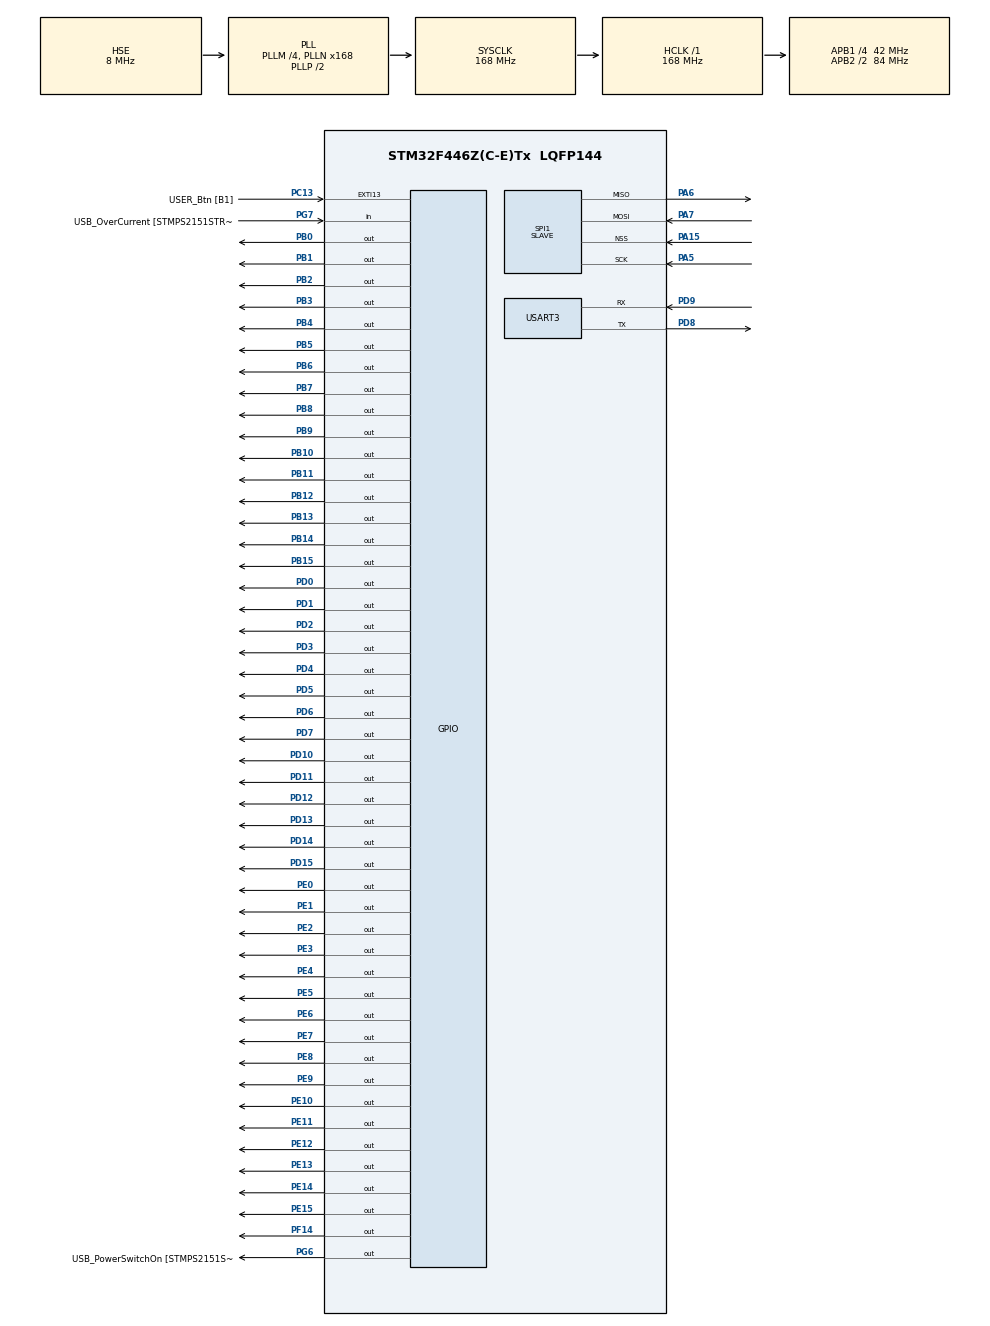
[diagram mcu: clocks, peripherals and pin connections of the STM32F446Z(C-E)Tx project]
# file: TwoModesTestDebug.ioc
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Mcu.Family=STM32F4
Mcu.Name=STM32F446Z(C-E)Tx
Mcu.Package=LQFP144
NVIC.PriorityGroup=NVIC_PRIORITYGROUP_4
NVIC.SPI1_IRQn=true\:0\:0\:false\:false\:true\:true\:true\:true
NVIC.TIM2_IRQn=true\:0\:0\:false\:false\:true\:true\:true\:true
PA10.GPIO_Label=USB_ID
PA10.Signal=USB_OTG_FS_ID
PA11.GPIO_Label=USB_DM
PA11.Signal=USB_OTG_FS_DM
PA12.GPIO_Label=USB_DP
PA12.Signal=USB_OTG_FS_DP
PA13.GPIO_Label=TMS
PA13.Mode=Serial_Wire
PA13.Signal=SYS_JTMS-SWDIO
PA14.GPIO_Label=TCK
PA14.Mode=Serial_Wire
PA14.Signal=SYS_JTCK-SWCLK
PA15.Mode=NSS_Signal_Hard_Input
PA15.Signal=SPI1_NSS
PA5.Mode=Full_Duplex_Slave
PA5.Signal=SPI1_SCK
PA6.Mode=Full_Duplex_Slave
PA6.Signal=SPI1_MISO
PA7.Mode=Full_Duplex_Slave
PA7.Signal=SPI1_MOSI
PA8.GPIO_Label=USB_SOF [TP1]
PA8.Signal=USB_OTG_FS_SOF
PA9.GPIO_Label=USB_VBUS
PA9.Signal=USB_OTG_FS_VBUS
PB0.Signal=GPIO_Output
PB1.Signal=GPIO_Output
PB10.Signal=GPIO_Output
PB11.Signal=GPIO_Output
PB12.Signal=GPIO_Output
PB13.Signal=GPIO_Output
PB14.Signal=GPIO_Output
PB15.Signal=GPIO_Output
PB2.Signal=GPIO_Output
PB3.Signal=GPIO_Output
PB4.Signal=GPIO_Output
PB5.Signal=GPIO_Output
PB6.Signal=GPIO_Output
PB7.Signal=GPIO_Output
PB8.Signal=GPIO_Output
PB9.Signal=GPIO_Output
PC13.GPIO_Label=USER_Btn [B1]
PC13.Signal=GPXTI13
PC14-OSC32_IN.Mode=LSE-External-Oscillator
PC14-OSC32_IN.Signal=RCC_OSC32_IN
PC15-OSC32_OUT.Mode=LSE-External-Oscillator
PC15-OSC32_OUT.Signal=RCC_OSC32_OUT
PD0.Signal=GPIO_Output
PD1.Signal=GPIO_Output
PD10.Signal=GPIO_Output
PD11.Signal=GPIO_Output
PD12.Signal=GPIO_Output
PD13.Signal=GPIO_Output
PD14.Signal=GPIO_Output
PD15.Signal=GPIO_Output
PD2.Signal=GPIO_Output
PD3.Signal=GPIO_Output
PD4.Signal=GPIO_Output
PD5.Signal=GPIO_Output
PD6.Signal=GPIO_Output
PD7.Signal=GPIO_Output
PD8.Mode=Asynchronous
PD8.Signal=USART3_TX
PD9.Mode=Asynchronous
PD9.Signal=USART3_RX
PE0.Signal=GPIO_Output
PE1.Signal=GPIO_Output
PE10.Signal=GPIO_Output
PE11.Signal=GPIO_Output
PE12.Signal=GPIO_Output
PE13.Signal=GPIO_Output
PE14.Signal=GPIO_Output
PE15.Signal=GPIO_Output
PE2.Signal=GPIO_Output
PE3.Signal=GPIO_Output
PE4.Signal=GPIO_Output
PE5.Signal=GPIO_Output
PE6.Signal=GPIO_Output
PE7.Signal=GPIO_Output
PE8.Signal=GPIO_Output
PE9.Signal=GPIO_Output
PF14.Signal=GPIO_Output
PG6.GPIO_Label=USB_PowerSwitchOn [STMPS2151STR_EN]
PG6.Signal=GPIO_Output
PG7.GPIO_Label=USB_OverCurrent [STMPS2151STR_FAULT]
PG7.Signal=GPIO_Input
PH0-OSC_IN.GPIO_Label=MCO [STM32F103CBT6_PA8]
PH0-OSC_IN.Mode=HSE-External-Clock-Source
PH0-OSC_IN.Signal=RCC_OSC_IN
PH1-OSC_OUT.Mode=HSE-External-Clock-Source
PH1-OSC_OUT.Signal=RCC_OSC_OUT
ProjectManager.HeapSize=0x200
ProjectManager.StackSize=0x400
ProjectManager.TargetToolchain=STM32CubeIDE
RCC.48MHZClocksFreq_Value=24000000
RCC.AHBFreq_Value=168000000
RCC.APB1CLKDivider=RCC_HCLK_DIV4
RCC.APB1Freq_Value=42000000
RCC.APB1TimFreq_Value=84000000
RCC.APB2CLKDivider=RCC_HCLK_DIV2
RCC.APB2Freq_Value=84000000
RCC.APB2TimFreq_Value=168000000
RCC.CortexFreq_Value=168000000
RCC.HCLKFreq_Value=168000000
RCC.HSE_VALUE=8000000
RCC.HSI_VALUE=16000000
RCC.PLLM=4
RCC.PLLMUL=RCC_PLL_MUL9
RCC.PLLN=168
RCC.PLLQ=7
RCC.PLLSourceVirtual=RCC_PLLSOURCE_HSE
RCC.PRESCALERUSB=RCC_USBCLKSOURCE_PLL_DIV1_5
RCC.SYSCLKFreq_VALUE=168000000
RCC.SYSCLKSource=RCC_SYSCLKSOURCE_PLLCLK
RCC.SYSCLKSourceVirtual=RCC_SYSCLKSOURCE_PLLCLK
RCC.USBFreq_Value=48000000
RCC.VCOOutputFreq_Value=336000000
SPI1.DataSize=SPI_DATASIZE_8BIT
SPI1.Direction=SPI_DIRECTION_2LINES
SPI1.Mode=SPI_MODE_SLAVE
SPI1.VirtualNSS=VM_NSSHARD
SPI1.VirtualType=VM_SLAVE
TIM2.Prescaler=8399
USART3.VirtualMode=VM_ASYNC
VP_TIM2_VS_ClockSourceINT.Mode=Internal
board=NUCLEO-F446ZE

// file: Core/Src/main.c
/* USER CODE BEGIN Header */
/**
  ******************************************************************************
  * @file           : main.c
  * @brief          : Main program body
  ******************************************************************************
  * @attention
  *
  * Copyright (c) 2025 STMicroelectronics.
  * All rights reserved.
  *
  * This software is licensed under terms that can be found in the LICENSE file
  * in the root directory of this software component.
  * If no LICENSE file comes with this software, it is provided AS-IS.
  *
  ******************************************************************************
  */
/* USER CODE END Header */
#include "main.h"

/* USER CODE BEGIN Includes */
#include <stdio.h>
/* USER CODE END Includes */

/* USER CODE BEGIN PTD */

/*
typedef enum {
    MODE_IDLE,
    MODE_STATIC,
    MODE_TEST
} run_mode_t;

*/
/* USER CODE END PTD */

SPI_HandleTypeDef hspi1;

TIM_HandleTypeDef htim2;

UART_HandleTypeDef huart3;

/* USER CODE BEGIN PV */
#define SYNC_WORD    0xA5A5u
#define CMD_STATIC   0xC001u
#define CMD_TEST     0xC002u
#define RX_PACKET_WORDS 1
#define RX_PACKET_BYTES 2
#define BUF_LEN 18

static volatile uint8_t rx_packet[BUF_LEN];
static volatile uint8_t rx_packet_ready = 0;
static volatile uint32_t rx_packets_ok = 0;
static volatile uint32_t rx_packets_bad = 0;
/*
static volatile run_mode_t current_mode = MODE_IDLE;
static volatile uint8_t current_test_pattern = 0;

static volatile uint16_t test_pattern1[3] = {0, 0, 0};
static volatile uint16_t test_pattern2[3] = {0, 0, 0};
static volatile uint16_t test_freq_hz = 1;
*/
/* USER CODE END PV */

void SystemClock_Config(void);
static void MX_GPIO_Init(void);
static void MX_SPI1_Init(void);
static void MX_TIM2_Init(void);
static void MX_USART3_UART_Init(void);
/* USER CODE BEGIN PFP */
//static void ApplyPattern48(uint16_t pattern1, uint16_t pattern2, uint16_t pattern3);
static void SPI_Rearm_Packet(void);
//static void SetSwitchingFrequency(uint32_t freq_hz);
/* USER CODE END PFP */

/* USER CODE BEGIN 0 */
int __io_putchar(int ch)
{
    HAL_UART_Transmit(&huart3, (uint8_t *)&ch, 1, HAL_MAX_DELAY);
    return ch;
}

/*static inline GPIO_PinState bit_to_state(uint16_t w, uint8_t bit)
{
    return (w & (1U << bit)) ? GPIO_PIN_SET : GPIO_PIN_RESET;
}
*/
static void SPI_Rearm_Packet(void)
{
	//reas sr and dr again
    if (HAL_SPI_Receive_IT(&hspi1, (uint8_t*)rx_packet, RX_PACKET_BYTES) != HAL_OK)
    {
        rx_packets_bad++;
        printf("SPI arm failed\r\n");
    }
}
/*
static void SetSwitchingFrequency(uint32_t freq_hz)
{
    uint32_t timer_tick_hz = 10000;
    uint32_t interrupt_rate;
    uint32_t arr_value;

    if (freq_hz == 0)
    {
        freq_hz = 1;
    }

    interrupt_rate = 2U * freq_hz;

    if (interrupt_rate == 0)
    {
        interrupt_rate = 2;
    }

    if (interrupt_rate > timer_tick_hz)
    {
        interrupt_rate = timer_tick_hz;
    }

    arr_value = (timer_tick_hz / interrupt_rate) - 1U;

    __HAL_TIM_SET_AUTORELOAD(&htim2, arr_value);
    __HAL_TIM_SET_COUNTER(&htim2, 0);
    __HAL_TIM_CLEAR_FLAG(&htim2, TIM_FLAG_UPDATE);
}
void HAL_TIM_PeriodElapsedCallback(TIM_HandleTypeDef *htim)
{
    if (htim->Instance != TIM2) return;

    if (current_mode != MODE_TEST) return;

    if (current_test_pattern == 0)
    {
        ApplyPattern48(test_pattern1[0], test_pattern1[1], test_pattern1[2]);
        current_test_pattern = 1;
    }
    else
    {
        ApplyPattern48(test_pattern2[0], test_pattern2[1], test_pattern2[2]);
        current_test_pattern = 0;
    }
}
*/

/* Apply 3 frames in order:
 *  frame0 ; CH1-CH16 (bits 0..15)
 *  frame1 ;CH17-CH32 (bits 0..15)
 *  frame2 ; CH33-CH48 (bits 0..15)
 */
//static void ApplyPattern48(uint16_t pattern1, uint16_t pattern2, uint16_t pattern3)
//{
    /* FRAME 1 (pattern0): CH1-CH16 */
/*
    HAL_GPIO_WritePin(GPIOD, GPIO_PIN_1,  bit_to_state(pattern1, 0));//CH1
    HAL_GPIO_WritePin(GPIOD, GPIO_PIN_2,  bit_to_state(pattern1, 1));//CH2
    HAL_GPIO_WritePin(GPIOD, GPIO_PIN_4,  bit_to_state(pattern1, 2));//CH3
    HAL_GPIO_WritePin(GPIOB, GPIO_PIN_10, bit_to_state(pattern1, 3));//CH4
    HAL_GPIO_WritePin(GPIOB, GPIO_PIN_12, bit_to_state(pattern1, 4));//CH5
    HAL_GPIO_WritePin(GPIOB, GPIO_PIN_13, bit_to_state(pattern1, 5));//CH6
    HAL_GPIO_WritePin(GPIOD, GPIO_PIN_3,  bit_to_state(pattern1, 6));//CH7
    HAL_GPIO_WritePin(GPIOD, GPIO_PIN_7,  bit_to_state(pattern1, 7));//CH8
    HAL_GPIO_WritePin(GPIOE, GPIO_PIN_15, bit_to_state(pattern1, 8));//CH9
    HAL_GPIO_WritePin(GPIOB, GPIO_PIN_14, bit_to_state(pattern1, 9));//CH10
    //HAL_GPIO_WritePin(GPIOD, GPIO_PIN_8,  bit_to_state(pattern1, 10));//CH11 ->>>>>>
    HAL_GPIO_WritePin(GPIOB, GPIO_PIN_15, bit_to_state(pattern1, 11));//CH12
    HAL_GPIO_WritePin(GPIOB, GPIO_PIN_11, bit_to_state(pattern1, 12));//CH13
    HAL_GPIO_WritePin(GPIOD, GPIO_PIN_6,  bit_to_state(pattern1, 13));//CH14
    HAL_GPIO_WritePin(GPIOD, GPIO_PIN_5,  bit_to_state(pattern1, 14));//CH15
    HAL_GPIO_WritePin(GPIOD, GPIO_PIN_0,  bit_to_state(pattern1, 15));//CH16
*/
    /*  FRAME 2 (pattern1): CH17-CH32 */
/*
    HAL_GPIO_WritePin(GPIOD, GPIO_PIN_10, bit_to_state(pattern2, 0));//CH17
    HAL_GPIO_WritePin(GPIOD, GPIO_PIN_12, bit_to_state(pattern2, 1));//CH18
    HAL_GPIO_WritePin(GPIOD, GPIO_PIN_14, bit_to_state(pattern2, 2));//CH19
    HAL_GPIO_WritePin(GPIOE, GPIO_PIN_3,  bit_to_state(pattern2, 3));//CH20
    HAL_GPIO_WritePin(GPIOE, GPIO_PIN_5,  bit_to_state(pattern2, 4));//CH21
    HAL_GPIO_WritePin(GPIOE, GPIO_PIN_6,  bit_to_state(pattern2, 5));//CH22
    HAL_GPIO_WritePin(GPIOD, GPIO_PIN_11, bit_to_state(pattern2, 6));//CH23
    HAL_GPIO_WritePin(GPIOE, GPIO_PIN_1,  bit_to_state(pattern2, 7));//CH24
    HAL_GPIO_WritePin(GPIOE, GPIO_PIN_2,  bit_to_state(pattern2, 8));//CH25
    HAL_GPIO_WritePin(GPIOB, GPIO_PIN_0,  bit_to_state(pattern2, 9));//CH26
    HAL_GPIO_WritePin(GPIOB, GPIO_PIN_1,  bit_to_state(pattern2, 10));//CH27
    HAL_GPIO_WritePin(GPIOB, GPIO_PIN_2,  bit_to_state(pattern2, 11));//CH28
    HAL_GPIO_WritePin(GPIOE, GPIO_PIN_4,  bit_to_state(pattern2, 12));//CH29
    HAL_GPIO_WritePin(GPIOD, GPIO_PIN_15, bit_to_state(pattern2, 13));//CH30
    HAL_GPIO_WritePin(GPIOD, GPIO_PIN_13, bit_to_state(pattern2, 14));//CH31
    //HAL_GPIO_WritePin(GPIOD, GPIO_PIN_9,  bit_to_state(pattern2, 15));//CH32 ->>>>>>>

*/
    /*  FRAME 3 (pattern2): CH33-CH48 */
/*
    HAL_GPIO_WritePin(GPIOE, GPIO_PIN_8,  bit_to_state(pattern3, 0));//CH33
    HAL_GPIO_WritePin(GPIOE, GPIO_PIN_9,  bit_to_state(pattern3, 1));//CH34
    HAL_GPIO_WritePin(GPIOE, GPIO_PIN_11, bit_to_state(pattern3, 2));//CH35
    HAL_GPIO_WritePin(GPIOE, GPIO_PIN_13, bit_to_state(pattern3, 3));//CH36
    HAL_GPIO_WritePin(GPIOB, GPIO_PIN_6,  bit_to_state(pattern3, 4));//CH37
    HAL_GPIO_WritePin(GPIOB, GPIO_PIN_7,  bit_to_state(pattern3, 5));//CH38
    HAL_GPIO_WritePin(GPIOE, GPIO_PIN_10, bit_to_state(pattern3, 6));//CH39
    HAL_GPIO_WritePin(GPIOE, GPIO_PIN_14, bit_to_state(pattern3, 7));//CH40
    HAL_GPIO_WritePin(GPIOB, GPIO_PIN_3,  bit_to_state(pattern3, 8));//CH41
    HAL_GPIO_WritePin(GPIOB, GPIO_PIN_8,  bit_to_state(pattern3, 9));//CH42
    HAL_GPIO_WritePin(GPIOB, GPIO_PIN_9,  bit_to_state(pattern3, 10));//CH43
    HAL_GPIO_WritePin(GPIOE, GPIO_PIN_0,  bit_to_state(pattern3, 11));//CH44
    HAL_GPIO_WritePin(GPIOB, GPIO_PIN_5,  bit_to_state(pattern3, 12));//CH45
    HAL_GPIO_WritePin(GPIOB, GPIO_PIN_4,  bit_to_state(pattern3, 13));//CH46
    HAL_GPIO_WritePin(GPIOE, GPIO_PIN_12, bit_to_state(pattern3, 14));//CH47
    HAL_GPIO_WritePin(GPIOE, GPIO_PIN_7,  bit_to_state(pattern3, 15));//CH48

    //HAL_GPIO_WritePin(GPIOD, GPIO_PIN_7, (pattern & (1U << 1)) ? GPIO_PIN_SET : GPIO_PIN_RESET);
}
*/

void HAL_SPI_RxCpltCallback(SPI_HandleTypeDef *hspi)
{
    if (hspi->Instance != SPI1) return;

    rx_packet_ready = 1;

}
void HAL_SPI_ErrorCallback(SPI_HandleTypeDef *hspi)
{
    if (hspi->Instance != SPI1) return;

    rx_packets_bad++;
    printf("SPI error callback\r\n");

    volatile uint32_t tmp;
    tmp = hspi->Instance->DR;
    tmp = hspi->Instance->SR;
    (void)tmp;

    SPI_Rearm_Packet();
}

/* USER CODE END 0 */

int main(void)
{

  /* MCU Configuration--------------------------------------------------------*/

  /* Reset of all peripherals, Initializes the Flash interface and the Systick. */
  HAL_Init();

  /* Configure the system clock */
  SystemClock_Config();

  /* Initialize all configured peripherals */
  MX_GPIO_Init();
  MX_SPI1_Init();
  MX_TIM2_Init();
  MX_USART3_UART_Init();
  printf("Boot OK\r\n");
  /* USER CODE BEGIN 2 */

  /* Boot banner so you know firmware is running */
  //const char hello[] = "Boot OK: SPI1 slave listening (16-bit, mode 0)\r\n";
  //HAL_UART_Transmit(&huart3, (uint8_t*)hello, sizeof(hello)-1, 100);

/*
  ApplyPattern48(0xFFFF, 0x0000, 0x0000);
  HAL_Delay(1000);
  ApplyPattern48(0x0000, 0xFFFF, 0x0000);
  HAL_Delay(1000);
  ApplyPattern48(0x0000, 0x0000, 0xFFFF);
  HAL_Delay(1000);
  ApplyPattern48(0, 0, 0);

  SPI_Rearm_Packet();
*/

  /*current_mode = MODE_IDLE;
  current_test_pattern = 0;

  test_pattern1[0] = 0;
  test_pattern1[1] = 0;
  test_pattern1[2] = 0;

  test_pattern2[0] = 0;
  test_pattern2[1] = 0;
  test_pattern2[2] = 0;

  test_freq_hz = 1;

  HAL_TIM_Base_Stop_IT(&htim2);
  __HAL_TIM_SET_COUNTER(&htim2, 0);

  ApplyPattern48(0, 0, 0);
  */
  SPI_Rearm_Packet();

  //ApplyPattern48(0, 0, 0);
  //SPI_Rearm_Packet();

  /* Local shadow used to detect new RX events without disabling IRQs */

  /* USER CODE END 2 */

  /* Infinite loop */
  while (1)
  {

    /* USER CODE BEGIN 3 */

    /* If a full 3-frame group arrived, apply it once */
	  if (rx_packet_ready)
	  {
	      //printf("SPI packet received\r\n");

	      uint16_t pkt[RX_PACKET_WORDS];
	      for (int i = 0; i < BUF_LEN; i++){
	    	  printf("buffe pos %d: %02X     ", i,rx_packet[i]);
	      }
	      __disable_irq();
	      for (int i = 0; i < RX_PACKET_WORDS; i++) //TRY PROCESSING PACKET AFTER ENABLING IRQ AND ALSO REMOVING PRINTS
	      {
	          pkt[i] = ((uint16_t)rx_packet[2*i + 1] << 8) | rx_packet[2*i];
	          //rx_packet[2*i + 1] = '\0';
	          //rx_packet[2*i] = '\0';
	          //printf("packet:%04X\r\n",pkt[i]);
	      }
	      rx_packet_ready = 0;
	      SPI_Rearm_Packet();

	      __enable_irq();

	      printf("RX: %04X %04X %04X %04X %04X %04X %04X %04X %04X\r\n",
	             pkt[0], pkt[1], pkt[2], pkt[3], pkt[4], pkt[5], pkt[6], pkt[7], pkt[8]);
	      for(int i =0; i< RX_PACKET_WORDS; i++){
	    	  printf("word %d: %02X", i, rx_packet[i]);
	      }
	  }
  }

	     /* if (pkt[0] == SYNC_WORD)
	      {
	          if (pkt[1] == CMD_STATIC)
	          {
	              printf("CMD_STATIC accepted\r\n");
	              current_mode = MODE_STATIC;
	              current_test_pattern = 0;
	              HAL_TIM_Base_Stop_IT(&htim2);

	              ApplyPattern48(pkt[2], pkt[3], pkt[4]);
	              rx_packets_ok++;
	          }
	          else if (pkt[1] == CMD_TEST)
	          {
	              printf("CMD_TEST accepted\r\n");

	              test_pattern1[0] = pkt[2];
	              test_pattern1[1] = pkt[3];
	              test_pattern1[2] = pkt[4];

	              test_pattern2[0] = pkt[5];
	              test_pattern2[1] = pkt[6];
	              test_pattern2[2] = pkt[7];

	              test_freq_hz = pkt[8];
	              if (test_freq_hz == 0)
	                  test_freq_hz = 1;

	              current_mode = MODE_TEST;
	              current_test_pattern = 1;

	              HAL_TIM_Base_Stop_IT(&htim2);
	              ApplyPattern48(test_pattern1[0], test_pattern1[1], test_pattern1[2]);
	              SetSwitchingFrequency(test_freq_hz);
	              HAL_TIM_Base_Start_IT(&htim2);

	              rx_packets_ok++;
	          }
	          else
	          {
	              rx_packets_bad++;
	              printf("Bad cmd: %04X\r\n", pkt[1]);
	          }
	      }
	      else
	      {
	          rx_packets_bad++;
	          printf("Bad sync: %04X\r\n", pkt[0]);
	      }

	  }*/
  }

  /* USER CODE END 3 */

void SystemClock_Config(void)
{
  RCC_OscInitTypeDef RCC_OscInitStruct = {0};
  RCC_ClkInitTypeDef RCC_ClkInitStruct = {0};

  /** Configure the main internal regulator output voltage
  */
  __HAL_RCC_PWR_CLK_ENABLE();
  __HAL_PWR_VOLTAGESCALING_CONFIG(PWR_REGULATOR_VOLTAGE_SCALE1);

  /** Initializes the RCC Oscillators according to the specified parameters
  * in the RCC_OscInitTypeDef structure.
  */
  RCC_OscInitStruct.OscillatorType = RCC_OSCILLATORTYPE_HSE;
  RCC_OscInitStruct.HSEState = RCC_HSE_BYPASS;
  RCC_OscInitStruct.PLL.PLLState = RCC_PLL_ON;
  RCC_OscInitStruct.PLL.PLLSource = RCC_PLLSOURCE_HSE;
  RCC_OscInitStruct.PLL.PLLM = 4;
  RCC_OscInitStruct.PLL.PLLN = 168;
  RCC_OscInitStruct.PLL.PLLP = RCC_PLLP_DIV2;
  RCC_OscInitStruct.PLL.PLLQ = 7;
  RCC_OscInitStruct.PLL.PLLR = 2;
  if (HAL_RCC_OscConfig(&RCC_OscInitStruct) != HAL_OK)
  {
    Error_Handler();
  }

  /** Initializes the CPU, AHB and APB buses clocks
  */
  RCC_ClkInitStruct.ClockType = RCC_CLOCKTYPE_HCLK|RCC_CLOCKTYPE_SYSCLK
                              |RCC_CLOCKTYPE_PCLK1|RCC_CLOCKTYPE_PCLK2;
  RCC_ClkInitStruct.SYSCLKSource = RCC_SYSCLKSOURCE_PLLCLK;
  RCC_ClkInitStruct.AHBCLKDivider = RCC_SYSCLK_DIV1;
  RCC_ClkInitStruct.APB1CLKDivider = RCC_HCLK_DIV4;
  RCC_ClkInitStruct.APB2CLKDivider = RCC_HCLK_DIV2;

  if (HAL_RCC_ClockConfig(&RCC_ClkInitStruct, FLASH_LATENCY_5) != HAL_OK)
  {
    Error_Handler();
  }
}

static void MX_SPI1_Init(void)
{

  /* SPI1 parameter configuration*/
  hspi1.Instance = SPI1;
  hspi1.Init.Mode = SPI_MODE_SLAVE;
  hspi1.Init.Direction = SPI_DIRECTION_2LINES;
  hspi1.Init.DataSize = SPI_DATASIZE_8BIT;
  hspi1.Init.CLKPolarity = SPI_POLARITY_LOW;
  hspi1.Init.CLKPhase = SPI_PHASE_1EDGE;
  hspi1.Init.NSS = SPI_NSS_HARD_INPUT;
  hspi1.Init.FirstBit = SPI_FIRSTBIT_MSB;
  hspi1.Init.TIMode = SPI_TIMODE_DISABLE;
  hspi1.Init.CRCCalculation = SPI_CRCCALCULATION_DISABLE;
  hspi1.Init.CRCPolynomial = 10;

  if (HAL_SPI_Init(&hspi1) != HAL_OK)
  {
    Error_Handler();
  }

}

static void MX_TIM2_Init(void)
{

  TIM_ClockConfigTypeDef sClockSourceConfig = {0};
  TIM_MasterConfigTypeDef sMasterConfig = {0};

  htim2.Instance = TIM2;
  htim2.Init.Prescaler = 8399;
  htim2.Init.CounterMode = TIM_COUNTERMODE_UP;
  htim2.Init.Period = 4294967295;
  htim2.Init.ClockDivision = TIM_CLOCKDIVISION_DIV1;
  htim2.Init.AutoReloadPreload = TIM_AUTORELOAD_PRELOAD_DISABLE;
  if (HAL_TIM_Base_Init(&htim2) != HAL_OK)
  {
    Error_Handler();
  }
  sClockSourceConfig.ClockSource = TIM_CLOCKSOURCE_INTERNAL;
  if (HAL_TIM_ConfigClockSource(&htim2, &sClockSourceConfig) != HAL_OK)
  {
    Error_Handler();
  }
  sMasterConfig.MasterOutputTrigger = TIM_TRGO_RESET;
  sMasterConfig.MasterSlaveMode = TIM_MASTERSLAVEMODE_DISABLE;
  if (HAL_TIMEx_MasterConfigSynchronization(&htim2, &sMasterConfig) != HAL_OK)
  {
    Error_Handler();
  }

}

static void MX_USART3_UART_Init(void)
{

  huart3.Instance = USART3;
  huart3.Init.BaudRate = 115200;
  huart3.Init.WordLength = UART_WORDLENGTH_8B;
  huart3.Init.StopBits = UART_STOPBITS_1;
  huart3.Init.Parity = UART_PARITY_NONE;
  huart3.Init.Mode = UART_MODE_TX_RX;
  huart3.Init.HwFlowCtl = UART_HWCONTROL_NONE;
  huart3.Init.OverSampling = UART_OVERSAMPLING_16;
  if (HAL_UART_Init(&huart3) != HAL_OK)
  {
    Error_Handler();
  }

}

static void MX_GPIO_Init(void)
{
  GPIO_InitTypeDef GPIO_InitStruct = {0};

  /* GPIO Ports Clock Enable */
  __HAL_RCC_GPIOE_CLK_ENABLE();
  __HAL_RCC_GPIOC_CLK_ENABLE();
  __HAL_RCC_GPIOH_CLK_ENABLE();
  __HAL_RCC_GPIOA_CLK_ENABLE();
  __HAL_RCC_GPIOB_CLK_ENABLE();
  __HAL_RCC_GPIOF_CLK_ENABLE();
  __HAL_RCC_GPIOD_CLK_ENABLE();
  __HAL_RCC_GPIOG_CLK_ENABLE();

  /*Configure GPIO pin Output Level */
  HAL_GPIO_WritePin(GPIOE, GPIO_PIN_2|GPIO_PIN_3|GPIO_PIN_4|GPIO_PIN_5
                          |GPIO_PIN_6|GPIO_PIN_7|GPIO_PIN_8|GPIO_PIN_9
                          |GPIO_PIN_10|GPIO_PIN_11|GPIO_PIN_12|GPIO_PIN_13
                          |GPIO_PIN_14|GPIO_PIN_15|GPIO_PIN_0|GPIO_PIN_1, GPIO_PIN_RESET);

  /*Configure GPIO pin Output Level */
  HAL_GPIO_WritePin(GPIOB, GPIO_PIN_0|GPIO_PIN_1|GPIO_PIN_2|GPIO_PIN_10
                          |GPIO_PIN_11|GPIO_PIN_12|GPIO_PIN_13|GPIO_PIN_14
                          |GPIO_PIN_15|GPIO_PIN_3|GPIO_PIN_4|GPIO_PIN_5
                          |GPIO_PIN_6|GPIO_PIN_7|GPIO_PIN_8|GPIO_PIN_9, GPIO_PIN_RESET);

  /*Configure GPIO pin Output Level */
  HAL_GPIO_WritePin(GPIOF, GPIO_PIN_14, GPIO_PIN_RESET);

  /*Configure GPIO pin Output Level */
  HAL_GPIO_WritePin(GPIOD, GPIO_PIN_10|GPIO_PIN_11|GPIO_PIN_12|GPIO_PIN_13
                          |GPIO_PIN_14|GPIO_PIN_15|GPIO_PIN_0|GPIO_PIN_1
                          |GPIO_PIN_2|GPIO_PIN_3|GPIO_PIN_4|GPIO_PIN_5
                          |GPIO_PIN_6|GPIO_PIN_7, GPIO_PIN_RESET);

  /*Configure GPIO pin Output Level */
  HAL_GPIO_WritePin(USB_PowerSwitchOn_GPIO_Port, USB_PowerSwitchOn_Pin, GPIO_PIN_RESET);

  /*Configure GPIO pins : PE2 PE3 PE4 PE5
                           PE6 PE7 PE8 PE9
                           PE10 PE11 PE12 PE13
                           PE14 PE15 PE0 PE1 */
  GPIO_InitStruct.Pin = GPIO_PIN_2|GPIO_PIN_3|GPIO_PIN_4|GPIO_PIN_5
                          |GPIO_PIN_6|GPIO_PIN_7|GPIO_PIN_8|GPIO_PIN_9
                          |GPIO_PIN_10|GPIO_PIN_11|GPIO_PIN_12|GPIO_PIN_13
                          |GPIO_PIN_14|GPIO_PIN_15|GPIO_PIN_0|GPIO_PIN_1;
  GPIO_InitStruct.Mode = GPIO_MODE_OUTPUT_PP;
  GPIO_InitStruct.Pull = GPIO_NOPULL;
  GPIO_InitStruct.Speed = GPIO_SPEED_FREQ_LOW;
  HAL_GPIO_Init(GPIOE, &GPIO_InitStruct);

  /*Configure GPIO pin : USER_Btn_Pin */
  GPIO_InitStruct.Pin = USER_Btn_Pin;
  GPIO_InitStruct.Mode = GPIO_MODE_IT_RISING;
  GPIO_InitStruct.Pull = GPIO_NOPULL;
  HAL_GPIO_Init(USER_Btn_GPIO_Port, &GPIO_InitStruct);

  /*Configure GPIO pins : PB0 PB1 PB2 PB10
                           PB11 PB12 PB13 PB14
                           PB15 PB3 PB4 PB5
                           PB6 PB7 PB8 PB9 */
  GPIO_InitStruct.Pin = GPIO_PIN_0|GPIO_PIN_1|GPIO_PIN_2|GPIO_PIN_10
                          |GPIO_PIN_11|GPIO_PIN_12|GPIO_PIN_13|GPIO_PIN_14
                          |GPIO_PIN_15|GPIO_PIN_3|GPIO_PIN_4|GPIO_PIN_5
                          |GPIO_PIN_6|GPIO_PIN_7|GPIO_PIN_8|GPIO_PIN_9;
  GPIO_InitStruct.Mode = GPIO_MODE_OUTPUT_PP;
  GPIO_InitStruct.Pull = GPIO_NOPULL;
  GPIO_InitStruct.Speed = GPIO_SPEED_FREQ_LOW;
  HAL_GPIO_Init(GPIOB, &GPIO_InitStruct);

  /*Configure GPIO pin : PF14 */
  GPIO_InitStruct.Pin = GPIO_PIN_14;
  GPIO_InitStruct.Mode = GPIO_MODE_OUTPUT_PP;
  GPIO_InitStruct.Pull = GPIO_NOPULL;
  GPIO_InitStruct.Speed = GPIO_SPEED_FREQ_LOW;
  HAL_GPIO_Init(GPIOF, &GPIO_InitStruct);

  /*Configure GPIO pins : PD10 PD11 PD12 PD13
                           PD14 PD15 PD0 PD1
                           PD2 PD3 PD4 PD5
                           PD6 PD7 */
  GPIO_InitStruct.Pin = GPIO_PIN_10|GPIO_PIN_11|GPIO_PIN_12|GPIO_PIN_13
                          |GPIO_PIN_14|GPIO_PIN_15|GPIO_PIN_0|GPIO_PIN_1
                          |GPIO_PIN_2|GPIO_PIN_3|GPIO_PIN_4|GPIO_PIN_5
                          |GPIO_PIN_6|GPIO_PIN_7;
  GPIO_InitStruct.Mode = GPIO_MODE_OUTPUT_PP;
  GPIO_InitStruct.Pull = GPIO_NOPULL;
  GPIO_InitStruct.Speed = GPIO_SPEED_FREQ_LOW;
  HAL_GPIO_Init(GPIOD, &GPIO_InitStruct);

  /*Configure GPIO pin : USB_PowerSwitchOn_Pin */
  GPIO_InitStruct.Pin = USB_PowerSwitchOn_Pin;
  GPIO_InitStruct.Mode = GPIO_MODE_OUTPUT_PP;
  GPIO_InitStruct.Pull = GPIO_NOPULL;
  GPIO_InitStruct.Speed = GPIO_SPEED_FREQ_LOW;
  HAL_GPIO_Init(USB_PowerSwitchOn_GPIO_Port, &GPIO_InitStruct);

  /*Configure GPIO pin : USB_OverCurrent_Pin */
  GPIO_InitStruct.Pin = USB_OverCurrent_Pin;
  GPIO_InitStruct.Mode = GPIO_MODE_INPUT;
  GPIO_InitStruct.Pull = GPIO_NOPULL;
  HAL_GPIO_Init(USB_OverCurrent_GPIO_Port, &GPIO_InitStruct);

  /*Configure GPIO pins : USB_SOF_Pin USB_ID_Pin USB_DM_Pin USB_DP_Pin */
  GPIO_InitStruct.Pin = USB_SOF_Pin|USB_ID_Pin|USB_DM_Pin|USB_DP_Pin;
  GPIO_InitStruct.Mode = GPIO_MODE_AF_PP;
  GPIO_InitStruct.Pull = GPIO_NOPULL;
  GPIO_InitStruct.Speed = GPIO_SPEED_FREQ_VERY_HIGH;
  GPIO_InitStruct.Alternate = GPIO_AF10_OTG_FS;
  HAL_GPIO_Init(GPIOA, &GPIO_InitStruct);

  /*Configure GPIO pin : USB_VBUS_Pin */
  GPIO_InitStruct.Pin = USB_VBUS_Pin;
  GPIO_InitStruct.Mode = GPIO_MODE_INPUT;
  GPIO_InitStruct.Pull = GPIO_NOPULL;
  HAL_GPIO_Init(USB_VBUS_GPIO_Port, &GPIO_InitStruct);

}

void Error_Handler(void)
{
  __disable_irq();
  while (1)
  {
  }
}
